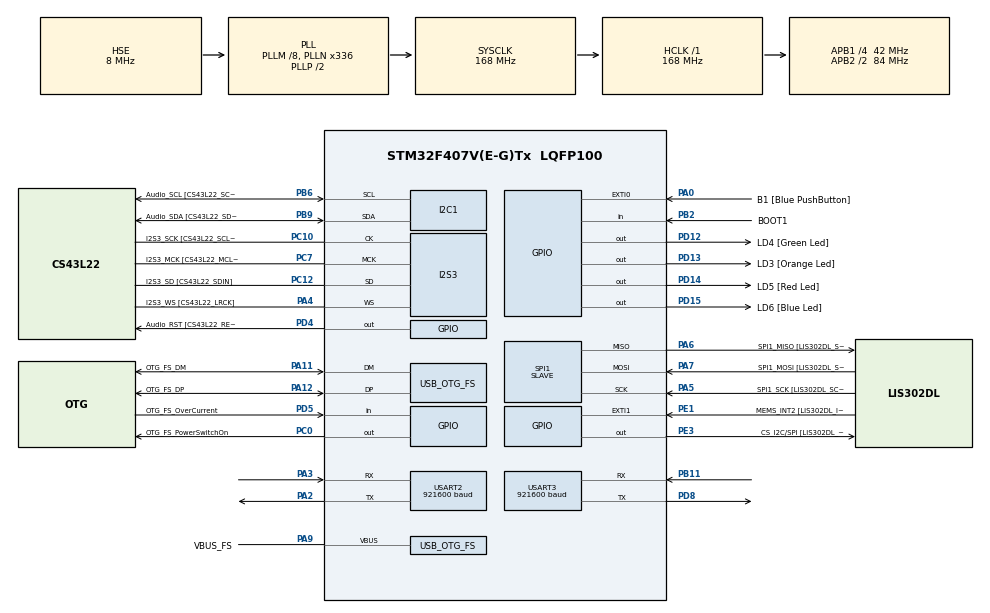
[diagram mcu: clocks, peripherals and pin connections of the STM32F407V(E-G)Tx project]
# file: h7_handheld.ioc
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Dma.Request0=SPI1_RX
Dma.SPI1_RX.0.Direction=DMA_PERIPH_TO_MEMORY
Dma.SPI1_RX.0.FIFOMode=DMA_FIFOMODE_DISABLE
Dma.SPI1_RX.0.Instance=DMA2_Stream0
Dma.SPI1_RX.0.MemDataAlignment=DMA_MDATAALIGN_BYTE
Dma.SPI1_RX.0.MemInc=DMA_MINC_ENABLE
Dma.SPI1_RX.0.Mode=DMA_NORMAL
Dma.SPI1_RX.0.PeriphDataAlignment=DMA_PDATAALIGN_BYTE
Dma.SPI1_RX.0.PeriphInc=DMA_PINC_DISABLE
Dma.SPI1_RX.0.Priority=DMA_PRIORITY_LOW
I2S3.AudioFreq-Half_Duplex_Master=I2S_AUDIOFREQ_96K
I2S3.ErrorAudioFreq=-2.34 %
I2S3.ErrorAudioFreq-Half_Duplex_Master=0.8 %
I2S3.FullDuplexMode=I2S_FULLDUPLEXMODE_DISABLE
I2S3.Instance=SPI$Index
I2S3.RealAudioFreq=93.75 KHz
I2S3.RealAudioFreq-Half_Duplex_Master=96.774 KHz
I2S3.VirtualMode=I2S_MODE_MASTER
Mcu.Family=STM32F4
Mcu.Name=STM32F407V(E-G)Tx
Mcu.Package=LQFP100
NVIC.DMA2_Stream0_IRQn=true\:0\:0\:false\:false\:true\:false\:true\:true
NVIC.OTG_FS_IRQn=true\:0\:0\:false\:false\:true\:true\:true\:true
NVIC.PriorityGroup=NVIC_PRIORITYGROUP_0
NVIC.SPI1_IRQn=true\:0\:0\:false\:false\:true\:true\:true\:true
NVIC.USART3_IRQn=true\:0\:0\:false\:false\:true\:true\:true\:true
PA0-WKUP.GPIO_Label=B1 [Blue PushButton]
PA0-WKUP.GPIO_ModeDefaultEXTI=GPIO_MODE_EVT_RISING
PA0-WKUP.GPIO_PuPd=GPIO_NOPULL
PA0-WKUP.Signal=GPXTI0
PA10.GPIO_Label=OTG_FS_ID
PA10.GPIO_Mode=GPIO_MODE_AF_PP
PA10.GPIO_PuPd=GPIO_NOPULL
PA10.GPIO_Speed=GPIO_SPEED_FREQ_LOW
PA10.Signal=USB_OTG_FS_ID
PA11.GPIO_Label=OTG_FS_DM
PA11.GPIO_Mode=GPIO_MODE_AF_PP
PA11.GPIO_PuPd=GPIO_NOPULL
PA11.GPIO_Speed=GPIO_SPEED_FREQ_LOW
PA11.Mode=Host_Only
PA11.Signal=USB_OTG_FS_DM
PA12.GPIO_Label=OTG_FS_DP
PA12.GPIO_Mode=GPIO_MODE_AF_PP
PA12.GPIO_PuPd=GPIO_NOPULL
PA12.GPIO_Speed=GPIO_SPEED_FREQ_LOW
PA12.Mode=Host_Only
PA12.Signal=USB_OTG_FS_DP
PA13.GPIO_Label=SWDIO
PA13.Mode=Serial_Wire
PA13.Signal=SYS_JTMS-SWDIO
PA14.GPIO_Label=SWCLK
PA14.Mode=Serial_Wire
PA14.Signal=SYS_JTCK-SWCLK
PA2.Mode=Asynchronous
PA2.Signal=USART2_TX
PA3.Mode=Asynchronous
PA3.Signal=USART2_RX
PA4.GPIO_Label=I2S3_WS [CS43L22_LRCK]
PA4.GPIO_Mode=GPIO_MODE_AF_PP
PA4.GPIO_PuPd=GPIO_NOPULL
PA4.GPIO_Speed=GPIO_SPEED_FREQ_LOW
PA4.Mode=Half_Duplex_Master
PA4.Signal=I2S3_WS
PA5.GPIO_Label=SPI1_SCK [LIS302DL_SCL/SPC]
PA5.GPIO_Mode=GPIO_MODE_AF_PP
PA5.GPIO_PuPd=GPIO_NOPULL
PA5.GPIO_Speed=GPIO_SPEED_FREQ_LOW
PA5.Mode=Full_Duplex_Slave
PA5.Signal=SPI1_SCK
PA6.GPIO_Label=SPI1_MISO [LIS302DL_SDO]
PA6.GPIO_Mode=GPIO_MODE_AF_PP
PA6.GPIO_PuPd=GPIO_NOPULL
PA6.GPIO_Speed=GPIO_SPEED_FREQ_LOW
PA6.Mode=Full_Duplex_Slave
PA6.Signal=SPI1_MISO
PA7.GPIO_Label=SPI1_MOSI [LIS302DL_SDA/SDI/SDO]
PA7.GPIO_Mode=GPIO_MODE_AF_PP
PA7.GPIO_PuPd=GPIO_NOPULL
PA7.GPIO_Speed=GPIO_SPEED_FREQ_LOW
PA7.Mode=Full_Duplex_Slave
PA7.Signal=SPI1_MOSI
PA9.GPIO_Label=VBUS_FS
PA9.GPIO_Mode=GPIO_MODE_INPUT
PA9.GPIO_PuPd=GPIO_NOPULL
PA9.Mode=Activate_VBUS
PA9.Signal=USB_OTG_FS_VBUS
PB10.GPIO_Label=CLK_IN [MP45DT02_CLK]
PB10.GPIO_Mode=GPIO_MODE_AF_PP
PB10.GPIO_PuPd=GPIO_NOPULL
PB10.GPIO_Speed=GPIO_SPEED_FREQ_LOW
PB10.Signal=I2S2_CK
PB11.Mode=Asynchronous
PB11.Signal=USART3_RX
PB2.GPIO_Label=BOOT1
PB2.GPIO_Mode=GPIO_MODE_INPUT
PB2.GPIO_PuPd=GPIO_NOPULL
PB2.Signal=GPIO_Input
PB3.GPIO_Label=SWO
PB3.Signal=SYS_JTDO-SWO
PB6.GPIO_Label=Audio_SCL [CS43L22_SCL]
PB6.GPIO_Mode=GPIO_MODE_AF_OD
PB6.GPIO_Pu=GPIO_PULLUP
PB6.GPIO_PuPd=GPIO_NOPULL
PB6.GPIO_Speed=GPIO_SPEED_FREQ_LOW
PB6.Mode=I2C
PB6.Signal=I2C1_SCL
PB9.GPIO_Label=Audio_SDA [CS43L22_SDA]
PB9.GPIO_Mode=GPIO_MODE_AF_OD
PB9.GPIO_Pu=GPIO_PULLUP
PB9.GPIO_PuPd=GPIO_NOPULL
PB9.GPIO_Speed=GPIO_SPEED_FREQ_LOW
PB9.Mode=I2C
PB9.Signal=I2C1_SDA
PC0.GPIO_Label=OTG_FS_PowerSwitchOn
PC0.GPIO_PuPd=GPIO_NOPULL
PC0.GPIO_Speed=GPIO_SPEED_FREQ_LOW
PC0.PinState=GPIO_PIN_SET
PC0.Signal=GPIO_Output
PC10.GPIO_Label=I2S3_SCK [CS43L22_SCLK]
PC10.GPIO_Mode=GPIO_MODE_AF_PP
PC10.GPIO_PuPd=GPIO_NOPULL
PC10.GPIO_Speed=GPIO_SPEED_FREQ_LOW
PC10.Mode=Half_Duplex_Master
PC10.Signal=I2S3_CK
PC12.GPIO_Label=I2S3_SD [CS43L22_SDIN]
PC12.GPIO_Mode=GPIO_MODE_AF_PP
PC12.GPIO_PuPd=GPIO_NOPULL
PC12.GPIO_Speed=GPIO_SPEED_FREQ_LOW
PC12.Mode=Half_Duplex_Master
PC12.Signal=I2S3_SD
PC14-OSC32_IN.GPIO_Label=PC14-OSC32_IN
PC14-OSC32_IN.Mode=LSE-External-Oscillator
PC14-OSC32_IN.Signal=RCC_OSC32_IN
PC15-OSC32_OUT.GPIO_Label=PC15-OSC32_OUT
PC15-OSC32_OUT.Mode=LSE-External-Oscillator
PC15-OSC32_OUT.Signal=RCC_OSC32_OUT
PC3.GPIO_Label=PDM_OUT [MP45DT02_DOUT]
PC3.GPIO_Mode=GPIO_MODE_AF_PP
PC3.GPIO_PuPd=GPIO_NOPULL
PC3.GPIO_Speed=GPIO_SPEED_FREQ_LOW
PC3.Signal=I2S2_SD
PC7.GPIO_Label=I2S3_MCK [CS43L22_MCLK]
PC7.GPIO_Mode=GPIO_MODE_AF_PP
PC7.GPIO_PuPd=GPIO_NOPULL
PC7.GPIO_Speed=GPIO_SPEED_FREQ_LOW
PC7.Mode=Master_Clock_Activated
PC7.Signal=I2S3_MCK
PD12.GPIO_Label=LD4 [Green Led]
PD12.GPIO_PuPd=GPIO_NOPULL
PD12.GPIO_Speed=GPIO_SPEED_FREQ_LOW
PD12.Signal=GPIO_Output
PD13.GPIO_Label=LD3 [Orange Led]
PD13.GPIO_PuPd=GPIO_NOPULL
PD13.GPIO_Speed=GPIO_SPEED_FREQ_LOW
PD13.Signal=GPIO_Output
PD14.GPIO_Label=LD5 [Red Led]
PD14.GPIO_PuPd=GPIO_NOPULL
PD14.GPIO_Speed=GPIO_SPEED_FREQ_LOW
PD14.Signal=GPIO_Output
PD15.GPIO_Label=LD6 [Blue Led]
PD15.GPIO_PuPd=GPIO_NOPULL
PD15.GPIO_Speed=GPIO_SPEED_FREQ_LOW
PD15.Signal=GPIO_Output
PD4.GPIO_Label=Audio_RST [CS43L22_RESET]
PD4.GPIO_PuPd=GPIO_NOPULL
PD4.GPIO_Speed=GPIO_SPEED_FREQ_LOW
PD4.Signal=GPIO_Output
PD5.GPIO_Label=OTG_FS_OverCurrent
PD5.GPIO_Mode=GPIO_MODE_INPUT
PD5.GPIO_PuPd=GPIO_NOPULL
PD5.Signal=GPIO_Input
PD8.Mode=Asynchronous
PD8.Signal=USART3_TX
PE1.GPIO_Label=MEMS_INT2 [LIS302DL_INT2]
PE1.GPIO_ModeDefaultEXTI=GPIO_MODE_EVT_RISING
PE1.GPIO_PuPd=GPIO_NOPULL
PE1.Signal=GPXTI1
PE3.GPIO_Label=CS_I2C/SPI [LIS302DL_CS_I2C/SPI]
PE3.GPIO_PuPd=GPIO_NOPULL
PE3.GPIO_Speed=GPIO_SPEED_FREQ_LOW
PE3.Signal=GPIO_Output
PH0-OSC_IN.GPIO_Label=PH0-OSC_IN
PH0-OSC_IN.Mode=HSE-External-Oscillator
PH0-OSC_IN.Signal=RCC_OSC_IN
PH1-OSC_OUT.GPIO_Label=PH1-OSC_OUT
PH1-OSC_OUT.Mode=HSE-External-Oscillator
PH1-OSC_OUT.Signal=RCC_OSC_OUT
ProjectManager.HeapSize=0x200
ProjectManager.StackSize=0x400
ProjectManager.TargetToolchain=STM32CubeIDE
RCC.48MHZClocksFreq_Value=48000000
RCC.AHBFreq_Value=168000000
RCC.APB1CLKDivider=RCC_HCLK_DIV4
RCC.APB1Freq_Value=42000000
RCC.APB1TimFreq_Value=84000000
RCC.APB2CLKDivider=RCC_HCLK_DIV2
RCC.APB2Freq_Value=84000000
RCC.APB2TimFreq_Value=168000000
RCC.CortexFreq_Value=168000000
RCC.HCLKFreq_Value=168000000
RCC.HSE_VALUE=8000000
RCC.HSI_VALUE=16000000
RCC.PLLM=8
RCC.PLLN=336
RCC.PLLQ=7
RCC.SYSCLKFreq_VALUE=168000000
RCC.SYSCLKSource=RCC_SYSCLKSOURCE_PLLCLK
RCC.VCOOutputFreq_Value=336000000
SPI1.Direction=SPI_DIRECTION_2LINES
SPI1.Mode=SPI_MODE_SLAVE
SPI1.VirtualType=VM_SLAVE
USART2.BaudRate=921600
USART2.VirtualMode=VM_ASYNC
USART3.BaudRate=921600
USART3.VirtualMode=VM_ASYNC
USB_HOST.BSP.number=1
USB_HOST.USBH_HandleTypeDef-CDC_FS=hUsbHostFS
USB_HOST.VirtualModeFS=Cdc
USB_HOST0.BSP.STBoard=false
USB_HOST0.BSP.api=Unknown
USB_HOST0.BSP.instance=PC0
USB_HOST0.BSP.ip=GPIO
USB_HOST0.BSP.mode=Output
USB_HOST0.BSP.name=Drive_VBUS_FS
USB_HOST0.BSP.solution=PC0
USB_OTG_FS.VirtualMode=Host_Only
USB_OTG_FS.phy_itface=HCD_PHY_EMBEDDED
VP_USB_HOST_VS_USB_HOST_CDC_FS.Mode=CDC_FS
board=STM32F407G-DISC1

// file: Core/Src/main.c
/* USER CODE BEGIN Header */
/**
  ******************************************************************************
  * @file           : main.c
  * @brief          : Main program body
  ******************************************************************************
  * @attention
  *
  * Copyright (c) 2024 STMicroelectronics.
  * All rights reserved.
  *
  * This software is licensed under terms that can be found in the LICENSE file
  * in the root directory of this software component.
  * If no LICENSE file comes with this software, it is provided AS-IS.
  *
  ******************************************************************************
  */
/* USER CODE END Header */
#include "main.h"
#include "usb_host.h"

/* USER CODE BEGIN Includes */
#include "string.h"
#include "Nextion.h"
#include "stdio.h"

/* USER CODE END Includes */

I2C_HandleTypeDef hi2c1;

I2S_HandleTypeDef hi2s3;

SPI_HandleTypeDef hspi1;
DMA_HandleTypeDef hdma_spi1_rx;

UART_HandleTypeDef huart2;
UART_HandleTypeDef huart3;

/* USER CODE BEGIN PV */

#define TEMPERATURE 0b00
#define HUMIDITY 0b01
#define SOUND 0b10
#define VIBRATION 0b11

typedef struct {
  uint8_t sop;        // Start of packet
  uint8_t datatype;   // Data type
  uint8_t sensorId;   // Sensor ID
  uint32_t timestamp; // Timestamp
  int64_t data;        // Sensor data
  uint8_t crc;        // CRC for error checking
  uint8_t eop;
} SensorDataPacket;

#define PACKET_SIZE sizeof(SensorDataPacket)

typedef enum { // FSM States
    UART_WAIT_FOR_SOP,
    UART_DATATYPE,
    UART_SENSOR_ID,
    UART_TIMESTAMP,
    UART_DATA,
    UART_CRC,
	UART_EOP,
    UART_DONE
} UART_State_t;

// Declaration for USART1
uint8_t rx_data1[PACKET_SIZE];
SensorDataPacket sensorData1;
UART_State_t uartState1 = UART_WAIT_FOR_SOP;
uint32_t timestampBuffer1;
uint64_t dataBuffer1;
uint32_t dataIndex1 = 0; // Used for buffer indexing

uint8_t spi_rx_buffer[PACKET_SIZE];
uint16_t spi_rx_count = 0;
uint8_t test_five = 0;
SensorDataPacket receivedPacket;

// DISPLAY VARIABLES
// Object for the Nextion display
Nextion nextion;
NexComp temp_C;
NexComp temp_F;
NexComp hum_RH;
NexComp vib_X;
NexComp vib_Y;
NexComp vib_Z;
NexComp sound_dB;

// Objects for the components. Button1 is for example only.
//NexComp button1;

/* USER CODE END PV */

void SystemClock_Config(void);
static void MX_GPIO_Init(void);
static void MX_DMA_Init(void);
static void MX_I2C1_Init(void);
static void MX_I2S3_Init(void);
static void MX_SPI1_Init(void);
static void MX_USART3_UART_Init(void);
static void MX_USART2_UART_Init(void);
void MX_USB_HOST_Process(void);

/* USER CODE BEGIN PFP */
void resetState(void);
int validateCRC(const SensorDataPacket *packet);
void printData(const SensorDataPacket *packet);
void processSPIData(SPI_HandleTypeDef *SPI, SensorDataPacket *sensorData, uint8_t *rxData,
                     UART_State_t *uartState, uint32_t *timestampBuffer, uint64_t *dataBuffer, uint32_t *dataIndex);
void resetUartState(UART_State_t *uartState, uint32_t *timestampBuffer, uint64_t *dataBuffer, uint32_t *dataIndex, uint8_t *rxData);
void unpackData(uint64_t packedData, int16_t* x, int16_t* y, int16_t* z);
void printRawData(const SensorDataPacket *packet);

uint8_t test_data_count = 0;

/* USER CODE END PFP */

/* USER CODE BEGIN 0 */

//void HAL_SPI_RxCpltCallback(SPI_HandleTypeDef * hspi){
//    if(hspi->Instance == SPI1) {
//        // Process data from USART1
//    	//printData(&sensorData1);
////    	HAL_GPIO_TogglePin(GPIOD, GPIO_PIN_13); //orange
////    	HAL_UART_Transmit(&huart3, rx_data1, 1, 100);
////    	HAL_SPI_Receive_IT(&hspi1, rx_data1, 1);
//    	processSPIData(hspi, &sensorData1, rx_data1, &uartState1, &timestampBuffer1, &dataBuffer1, &dataIndex1);
////    	HAL_SPI_Receive_IT(&hspi1, rx_data1, 1);
//    }
//
////    test_data_count++;
////    if(test_data_count == 1){
////    	test_data_count = 0;
//////    	HAL_GPIO_TogglePin(GPIOD, GPIO_PIN_13); //orange
////
////    }
//    HAL_SPI_Receive_IT(&hspi1, rx_data1, 1);
//
//
////    HAL_SPI_Receive_IT(&hspi1, (uint8_t*)&sensorData1, sizeof(sensorData1));
//
//}

//void HAL_SPI_RxCpltCallback(SPI_HandleTypeDef * hspi){
//    if(hspi->Instance == SPI1) {
//        char debugOutput[32];
//        sprintf(debugOutput, "Rx: 0x%X\r\n", rx_data1[0]);
//        HAL_UART_Transmit(&huart3, (uint8_t*)debugOutput, strlen(debugOutput), 100);
//        HAL_GPIO_WritePin(GPIOD, GPIO_PIN_13, GPIO_PIN_SET);
//        HAL_SPI_Receive_IT(&hspi1, rx_data1, 1);
//    }
//}

// This function is called when the SPI receives data
void HAL_SPI_RxCpltCallback(SPI_HandleTypeDef *hspi) {
    if (hspi->Instance == SPI1) {
        // String to store the output for debugging
        char debugOutput[PACKET_SIZE * 3 + 1]; // Each byte could use up to 3 characters in text (2 hex digits and a space) + null terminator
        int offset = 0;

        // Convert the received data to hexadecimal string for UART transmission
        for (int i = 0; i < PACKET_SIZE; i++) {
            offset += snprintf(debugOutput + offset, sizeof(debugOutput) - offset, "%02X ", rx_data1[i]);
            if (offset >= sizeof(debugOutput)) break; // Safety check to prevent buffer overflow
        }

        // Transmit the formatted string over UART3
        HAL_UART_Transmit(&huart3, (uint8_t*)debugOutput, strlen(debugOutput), 100);

        // Now, process each byte of the received packet through the FSM
        for (int i = 0; i < PACKET_SIZE; i++) {
            // Pass each byte of the packet to the FSM
        	processSPIData(hspi, &sensorData1, &rx_data1[i], &uartState1, &timestampBuffer1, &dataBuffer1, &dataIndex1);
        }

        // Ready to receive the next packet
        HAL_SPI_Receive_DMA(hspi, rx_data1, PACKET_SIZE);
    }
}

// This function is called in case of an error on SPI
void HAL_SPI_ErrorCallback(SPI_HandleTypeDef *hspi) {
    // Handle your error here
    // After handling the error, re-arm the SPI receive interrupt
	HAL_SPI_Receive_DMA(hspi, rx_data1, PACKET_SIZE);
}

void HAL_UART_RxCpltCallback(UART_HandleTypeDef *huart)
{
	NextionUpdate(huart, &nextion);
}

void processSPIData(SPI_HandleTypeDef *SPI, SensorDataPacket *sensorData, uint8_t *rxData,
                     UART_State_t *uartState, uint32_t *timestampBuffer, uint64_t *dataBuffer, uint32_t *dataIndex) {    // Your existing switch case logic here, adapted for the specific sensorData and rx_data
    // This function needs to be adapted from your existing HAL_UART_RxCpltCallback logic
	uint8_t rxByte = *rxData; // The received byte
//    sprintf(buffer, "RxByte: 0x%08lX\r\n", rxByte);
//    HAL_UART_Transmit(&huart3, (uint8_t*)buffer, strlen(buffer), 100); // Print debug info
    switch (*uartState) {
        case UART_WAIT_FOR_SOP: // SOP Case
            if (rxByte == 0x53) { // SOP byte = 0x53 ('S')
            	sensorData->sop = rxByte; // Set the sop
            	*uartState = UART_DATATYPE;
//            	HAL_GPIO_WritePin(GPIOD, GPIO_PIN_13, GPIO_PIN_SET);
//                HAL_GPIO_WritePin(GPIOD, GPIO_PIN_13, GPIO_PIN_SET); // Orange LED set when packet is complete
            }
            break;
        case UART_DATATYPE: // Data type Case
        	sensorData->datatype = rxByte; // Set th		e data type (Temp = 00, Humidity = 01, Sound = 10, Vibration = 11)
            *uartState = UART_SENSOR_ID; // Next parameter
            break;

        case UART_SENSOR_ID: // Sensor ID Case
        	sensorData->sensorId = rxByte; // Set the sensor ID (000, 001, 010, 011, 100, 101, 110, 111 (i.e. Sensor 1-8)
        	*dataIndex = 0; // Reset dataIndex for the next field
            *uartState = UART_TIMESTAMP; // Next parameter
//            HAL_GPIO_WritePin(GPIOD, GPIO_PIN_13, GPIO_PIN_SET); // Orange LED set when packet is complete
            break;

        case UART_TIMESTAMP: // Timestamp Case
            // Combine byte into timestamp assuming little endian - least significant byte first
//            	timestampBuffer |= ((uint32_t)rxByte << (24 - (dataIndex * 8)));
        	*timestampBuffer |= ((uint32_t)rxByte << ((*dataIndex-1) * 8));
//            	sprintf(buffer, "RxByte: 0x%08lX\r\n", rxByte);
//            	HAL_UART_Transmit(&huart3, (uint8_t*)buffer, strlen(buffer), 100); // Print debug info
//            	sprintf(buffer, "Timestamp partial: 0x%08lX\r\n", timestampBuffer);
//            	HAL_UART_Transmit(&huart3, (uint8_t*)buffer, strlen(buffer), 100); // Print debug info
            (*dataIndex)++;
            if (*dataIndex >= sizeof(sensorData->timestamp)) {
                sensorData->timestamp = *timestampBuffer; // Assign the complete timestamp
                *dataIndex = 0; // Reset dataIndex for the data field
                *timestampBuffer = 0; // Clear the buffer for the next use
                *uartState = UART_DATA; // Move to the next state
            }
            break;

        case UART_DATA: // Data Case
            // Combine byte into data assuming little endian - least significant byte first
        	*dataBuffer |= ((uint64_t)rxByte << ((*dataIndex-1) * 8));//            	sprintf(buffer, "Data partial: 0x%016llx\r\n", dataBuffer);
//            	HAL_UART_Transmit(&huart3, (uint8_t*)buffer, strlen(buffer), 100); // Print debug info
            (*dataIndex)++;
            if (*dataIndex >= sizeof(sensorData->data)) {
                sensorData->data = *dataBuffer; // Assign the complete data
                *dataIndex = 0; // Reset dataIndex for the CRC field
                *dataBuffer = 0; // Clear the buffer for the next use
                *uartState = UART_CRC; // Move to the next state
            }
            break;

        case UART_CRC: // CRC Case
        	if(rxByte != 0){
                sensorData->crc = rxByte; // Set the CRC value based on algorithm
                *uartState = UART_EOP; // Next parameter
        	}
//                HAL_GPIO_WritePin(GPIOD, GPIO_PIN_13, GPIO_PIN_SET); // Orange LED set when packet is complete
            break;

        case UART_EOP:
            if (rxByte == 0x45) { // EOP byte = 0x45 ('E')
                *uartState = UART_DONE; // Packet reception is complete
                sensorData->eop = rxByte; // Set the eop
                if(SPI->Instance == SPI1){
                	HAL_GPIO_WritePin(GPIOD, GPIO_PIN_12, GPIO_PIN_SET); // Red LED set when packet is complete
                }
                ///else if(SPI->Instance == USART2){
                	//HAL_GPIO_WritePin(GPIOD, GPIO_PIN_13, GPIO_PIN_SET); // Orange LED set when packet is complete
                //}
               // else if(huart->Instance == UART4){
                //	HAL_GPIO_WritePin(GPIOD, GPIO_PIN_14, GPIO_PIN_SET); // Blue LED set when packet is complete
               // }
//                HAL_GPIO_WritePin(GPIOD, GPIO_PIN_13, GPIO_PIN_SET); // Orange LED set when packet is complete
            } else {
//                    uartState = UART_DONE; // Packet reception is complete
//                    sensorData.eop = rxByte; // Set the eop
//                    HAL_GPIO_WritePin(GPIOD, GPIO_PIN_13, GPIO_PIN_SET); // Orange LED set when packet is complete
                uartState = UART_WAIT_FOR_SOP; // Invalid EOP, reset FSM
            }
            break;

        case UART_DONE:
            // Packet is complete, validate CRC and take appropriate action
//                if (validateCRC(&sensorData)) {
//                    processData(&sensorData); // Process the data
//                }
//        	test_five++;
//        	if(test_five == 5){
//        		printData(sensorData); // Process the data
//        		test_five = 0;
//        	}
//        	printRawData(sensorData);
    		printData(sensorData); // Process the data
//        	HAL_GPIO_WritePin(GPIOD, GPIO_PIN_13, GPIO_PIN_SET); // Orange LED set when packet is complete
        	resetUartState(uartState, timestampBuffer, dataBuffer, dataIndex, rxData);
            break;
    }
    // Ready to receive the next byte
    HAL_SPI_Receive_DMA(SPI, rxData, 1);
}

void resetUartState(UART_State_t *uartState, uint32_t *timestampBuffer, uint64_t *dataBuffer, uint32_t *dataIndex, uint8_t *rxData) {
    *uartState = UART_WAIT_FOR_SOP; // Reset UART state
    *timestampBuffer = 0; // Clear the timestamp buffer
    *dataBuffer = 0; // Clear the data buffer
    *dataIndex = 0;
    *rxData = 0;
    HAL_GPIO_WritePin(GPIOD, GPIO_PIN_12, GPIO_PIN_RESET);
    HAL_GPIO_WritePin(GPIOD, GPIO_PIN_13, GPIO_PIN_RESET);
    HAL_GPIO_WritePin(GPIOD, GPIO_PIN_14, GPIO_PIN_RESET);
    HAL_GPIO_WritePin(GPIOD, GPIO_PIN_15, GPIO_PIN_RESET);
}

//int validateCRC(const SensorDataPacket *packet) {
////     Placeholder function to validate CRC - replace with actual CRC calculation
//    return packet->crc == crc_calculated;
//}

void printData(const SensorDataPacket *packet) {
    char buffer[100]; // Ensure the buffer is large enough for all the data
    char temp_buf[100];
    char hum_buf[100];
    char sound_buf[100];
    char x_buf[50];
    char y_buf[50];
    char z_buf[50];
    double data;
    int64_t signed_data;
    // Assuming the data field is treated as fixed-point and needs to be converted back to float
    if(packet->datatype == TEMPERATURE || packet->datatype == HUMIDITY){
    	signed_data = (int16_t) (packet->data);
    	data = signed_data / 100.0;
    }

    // Start of Packet (SOP) - Hexadecimal
    sprintf(buffer, "SOP: 0x%02X\r\n", packet->sop);
    HAL_UART_Transmit(&huart3, (uint8_t*)buffer, strlen(buffer), 100);

    // Data Type - Binary
    sprintf(buffer, "Data Type: %u\r\n", packet->datatype);
    HAL_UART_Transmit(&huart3, (uint8_t*)buffer, strlen(buffer), 100);

    // Sensor ID - Binary
    sprintf(buffer, "Sensor ID: %u\r\n", packet->sensorId);
    HAL_UART_Transmit(&huart3, (uint8_t*)buffer, strlen(buffer), 100);

    // Timestamp - Decimal
    sprintf(buffer, "Timestamp: %lu\r\n", packet->timestamp);
    HAL_UART_Transmit(&huart3, (uint8_t*)buffer, strlen(buffer), 100);

//    // Data - Decimal
//    sprintf(buffer, "Data: %lu\r\n", packet->data);
//    HAL_UART_Transmit(&huart3, (uint8_t*)buffer, strlen(buffer), 100);

    // Data - Signed Integer
    if(packet->datatype == TEMPERATURE) {
        // For non-vibration data, print as before
    	sprintf(buffer, "Temp: %.2f C\r\n", data);
    	sprintf(temp_buf, "%.2f C", data);
    	NextionSetText(&nextion, &temp_C, temp_buf);
    }
    else if(packet->datatype == HUMIDITY){
    	sprintf(buffer, "Hum: %.2f %%\r\n", data);
    	sprintf(hum_buf, "%.2f %%", data);
    	NextionSetText(&nextion, &hum_RH, hum_buf);
    }
    else if(packet->datatype == SOUND){
    	sprintf(buffer, "Sound: %lu dB\r\n", packet->data);
    	sprintf(sound_buf, "%lu dB", packet->data);
    	NextionSetText(&nextion, &sound_dB, sound_buf);
    }
    else if (packet->datatype == VIBRATION) {
        int16_t x, y, z;
        unpackData(packet->data, &x, &y, &z);
        // Display the scaled values with two decimal places as floating points
        float x_float = x / 100.0f;
        float y_float = y / 100.0f;
        float z_float = z / 100.0f;
//        sprintf(buffer2, "Data: %lu\r\n", packet->data);
        sprintf(buffer, "X: %.2f G\tY: %.2f G\tZ: %.2f G\r\n", x_float, y_float, z_float);
    	sprintf(x_buf, "X: %.2f G", x_float);
    	sprintf(y_buf, "Y: %.2f G", y_float);
    	sprintf(z_buf, "Z: %.2f G", z_float);
    	NextionSetText(&nextion, &vib_X, x_buf);
    	NextionSetText(&nextion, &vib_Y, y_buf);
    	NextionSetText(&nextion, &vib_Z, z_buf);
    }
    else{
    	sprintf(buffer, "Bad Data Type\r\n");
    }
    HAL_UART_Transmit(&huart3, (uint8_t*)buffer, strlen(buffer), 100);

    // CRC - Hexadecimal
    sprintf(buffer, "CRC: 0x%02X\r\n", packet->crc);
    HAL_UART_Transmit(&huart3, (uint8_t*)buffer, strlen(buffer), 100);

    // End of Packet (EOP) - Hexadecimal
    sprintf(buffer, "EOP: 0x%02X\r\n", packet->eop);
    HAL_UART_Transmit(&huart3, (uint8_t*)buffer, strlen(buffer), 100);

    // Separator
    HAL_UART_Transmit(&huart3, (uint8_t*)"--------\r\n", 10, 100);
}

void printRawData(const SensorDataPacket *packet) {
    char buffer[100]; // Ensure the buffer is large enough for all the data

    sprintf(buffer, "%lu\r\n", packet->data);
    HAL_UART_Transmit(&huart3, (uint8_t*)buffer, strlen(buffer), 100);
}

void unpackData(uint64_t packedData, int16_t* x, int16_t* y, int16_t* z) {
    *x = (int16_t)((packedData >> 32) & 0xFFFF);
    *y = (int16_t)((packedData >> 16) & 0xFFFF);
    *z = (int16_t)(packedData & 0xFFFF);
}

/* USER CODE END 0 */

int main(void)
{

  /* MCU Configuration--------------------------------------------------------*/

  /* Reset of all peripherals, Initializes the Flash interface and the Systick. */
  HAL_Init();

  /* Configure the system clock */
  SystemClock_Config();

  /* Initialize all configured peripherals */
  MX_GPIO_Init();
  MX_DMA_Init();
  MX_I2C1_Init();
  MX_I2S3_Init();
  MX_SPI1_Init();
  MX_USB_HOST_Init();
  MX_USART3_UART_Init();
  MX_USART2_UART_Init();
  /* USER CODE BEGIN 2 */
  NextionInit(&nextion, &huart2);
  NextionAddComp(&nextion, &temp_C, "t4", 0, 6, NULL, NULL);
  NextionAddComp(&nextion, &temp_F, "t5", 0, 7, NULL, NULL);
  NextionAddComp(&nextion, &hum_RH, "t6", 0, 8, NULL, NULL);
  NextionAddComp(&nextion, &vib_X, "t7", 0, 9, NULL, NULL);
  NextionAddComp(&nextion, &vib_Y, "t8", 0, 10, NULL, NULL);
  NextionAddComp(&nextion, &vib_Z, "t9", 0, 11, NULL, NULL);
  NextionAddComp(&nextion, &sound_dB, "t10", 0, 12, NULL, NULL);

  HAL_SPI_Receive_DMA(&hspi1, rx_data1, PACKET_SIZE);

  /* USER CODE END 2 */

  /* Infinite loop */
  while (1)
  {
    MX_USB_HOST_Process();

  }
}

void SystemClock_Config(void)
{
  RCC_OscInitTypeDef RCC_OscInitStruct = {0};
  RCC_ClkInitTypeDef RCC_ClkInitStruct = {0};

  /** Configure the main internal regulator output voltage
  */
  __HAL_RCC_PWR_CLK_ENABLE();
  __HAL_PWR_VOLTAGESCALING_CONFIG(PWR_REGULATOR_VOLTAGE_SCALE1);

  /** Initializes the RCC Oscillators according to the specified parameters
  * in the RCC_OscInitTypeDef structure.
  */
  RCC_OscInitStruct.OscillatorType = RCC_OSCILLATORTYPE_HSE;
  RCC_OscInitStruct.HSEState = RCC_HSE_ON;
  RCC_OscInitStruct.PLL.PLLState = RCC_PLL_ON;
  RCC_OscInitStruct.PLL.PLLSource = RCC_PLLSOURCE_HSE;
  RCC_OscInitStruct.PLL.PLLM = 8;
  RCC_OscInitStruct.PLL.PLLN = 336;
  RCC_OscInitStruct.PLL.PLLP = RCC_PLLP_DIV2;
  RCC_OscInitStruct.PLL.PLLQ = 7;
  if (HAL_RCC_OscConfig(&RCC_OscInitStruct) != HAL_OK)
  {
    Error_Handler();
  }

  /** Initializes the CPU, AHB and APB buses clocks
  */
  RCC_ClkInitStruct.ClockType = RCC_CLOCKTYPE_HCLK|RCC_CLOCKTYPE_SYSCLK
                              |RCC_CLOCKTYPE_PCLK1|RCC_CLOCKTYPE_PCLK2;
  RCC_ClkInitStruct.SYSCLKSource = RCC_SYSCLKSOURCE_PLLCLK;
  RCC_ClkInitStruct.AHBCLKDivider = RCC_SYSCLK_DIV1;
  RCC_ClkInitStruct.APB1CLKDivider = RCC_HCLK_DIV4;
  RCC_ClkInitStruct.APB2CLKDivider = RCC_HCLK_DIV2;

  if (HAL_RCC_ClockConfig(&RCC_ClkInitStruct, FLASH_LATENCY_5) != HAL_OK)
  {
    Error_Handler();
  }
}

static void MX_I2C1_Init(void)
{

  hi2c1.Instance = I2C1;
  hi2c1.Init.ClockSpeed = 100000;
  hi2c1.Init.DutyCycle = I2C_DUTYCYCLE_2;
  hi2c1.Init.OwnAddress1 = 0;
  hi2c1.Init.AddressingMode = I2C_ADDRESSINGMODE_7BIT;
  hi2c1.Init.DualAddressMode = I2C_DUALADDRESS_DISABLE;
  hi2c1.Init.OwnAddress2 = 0;
  hi2c1.Init.GeneralCallMode = I2C_GENERALCALL_DISABLE;
  hi2c1.Init.NoStretchMode = I2C_NOSTRETCH_DISABLE;
  if (HAL_I2C_Init(&hi2c1) != HAL_OK)
  {
    Error_Handler();
  }

}

static void MX_I2S3_Init(void)
{

  hi2s3.Instance = SPI3;
  hi2s3.Init.Mode = I2S_MODE_MASTER_TX;
  hi2s3.Init.Standard = I2S_STANDARD_PHILIPS;
  hi2s3.Init.DataFormat = I2S_DATAFORMAT_16B;
  hi2s3.Init.MCLKOutput = I2S_MCLKOUTPUT_ENABLE;
  hi2s3.Init.AudioFreq = I2S_AUDIOFREQ_96K;
  hi2s3.Init.CPOL = I2S_CPOL_LOW;
  hi2s3.Init.ClockSource = I2S_CLOCK_PLL;
  hi2s3.Init.FullDuplexMode = I2S_FULLDUPLEXMODE_DISABLE;
  if (HAL_I2S_Init(&hi2s3) != HAL_OK)
  {
    Error_Handler();
  }

}

static void MX_SPI1_Init(void)
{

  /* SPI1 parameter configuration*/
  hspi1.Instance = SPI1;
  hspi1.Init.Mode = SPI_MODE_SLAVE;
  hspi1.Init.Direction = SPI_DIRECTION_2LINES;
  hspi1.Init.DataSize = SPI_DATASIZE_8BIT;
  hspi1.Init.CLKPolarity = SPI_POLARITY_LOW;
  hspi1.Init.CLKPhase = SPI_PHASE_1EDGE;
  hspi1.Init.NSS = SPI_NSS_SOFT;
  hspi1.Init.FirstBit = SPI_FIRSTBIT_MSB;
  hspi1.Init.TIMode = SPI_TIMODE_DISABLE;
  hspi1.Init.CRCCalculation = SPI_CRCCALCULATION_DISABLE;
  hspi1.Init.CRCPolynomial = 10;
  if (HAL_SPI_Init(&hspi1) != HAL_OK)
  {
    Error_Handler();
  }

}

static void MX_USART2_UART_Init(void)
{

  huart2.Instance = USART2;
  huart2.Init.BaudRate = 921600;
  huart2.Init.WordLength = UART_WORDLENGTH_8B;
  huart2.Init.StopBits = UART_STOPBITS_1;
  huart2.Init.Parity = UART_PARITY_NONE;
  huart2.Init.Mode = UART_MODE_TX_RX;
  huart2.Init.HwFlowCtl = UART_HWCONTROL_NONE;
  huart2.Init.OverSampling = UART_OVERSAMPLING_16;
  if (HAL_UART_Init(&huart2) != HAL_OK)
  {
    Error_Handler();
  }

}

static void MX_USART3_UART_Init(void)
{

  huart3.Instance = USART3;
  huart3.Init.BaudRate = 921600;
  huart3.Init.WordLength = UART_WORDLENGTH_8B;
  huart3.Init.StopBits = UART_STOPBITS_1;
  huart3.Init.Parity = UART_PARITY_NONE;
  huart3.Init.Mode = UART_MODE_TX_RX;
  huart3.Init.HwFlowCtl = UART_HWCONTROL_NONE;
  huart3.Init.OverSampling = UART_OVERSAMPLING_16;
  if (HAL_UART_Init(&huart3) != HAL_OK)
  {
    Error_Handler();
  }

}

static void MX_DMA_Init(void)
{

  /* DMA controller clock enable */
  __HAL_RCC_DMA2_CLK_ENABLE();

  /* DMA interrupt init */
  /* DMA2_Stream0_IRQn interrupt configuration */
  HAL_NVIC_SetPriority(DMA2_Stream0_IRQn, 0, 0);
  HAL_NVIC_EnableIRQ(DMA2_Stream0_IRQn);

}

static void MX_GPIO_Init(void)
{
  GPIO_InitTypeDef GPIO_InitStruct = {0};

  /* GPIO Ports Clock Enable */
  __HAL_RCC_GPIOE_CLK_ENABLE();
  __HAL_RCC_GPIOC_CLK_ENABLE();
  __HAL_RCC_GPIOH_CLK_ENABLE();
  __HAL_RCC_GPIOA_CLK_ENABLE();
  __HAL_RCC_GPIOB_CLK_ENABLE();
  __HAL_RCC_GPIOD_CLK_ENABLE();

  /*Configure GPIO pin Output Level */
  HAL_GPIO_WritePin(CS_I2C_SPI_GPIO_Port, CS_I2C_SPI_Pin, GPIO_PIN_RESET);

  /*Configure GPIO pin Output Level */
  HAL_GPIO_WritePin(OTG_FS_PowerSwitchOn_GPIO_Port, OTG_FS_PowerSwitchOn_Pin, GPIO_PIN_SET);

  /*Configure GPIO pin Output Level */
  HAL_GPIO_WritePin(GPIOD, LD4_Pin|LD3_Pin|LD5_Pin|LD6_Pin
                          |Audio_RST_Pin, GPIO_PIN_RESET);

  /*Configure GPIO pin : CS_I2C_SPI_Pin */
  GPIO_InitStruct.Pin = CS_I2C_SPI_Pin;
  GPIO_InitStruct.Mode = GPIO_MODE_OUTPUT_PP;
  GPIO_InitStruct.Pull = GPIO_NOPULL;
  GPIO_InitStruct.Speed = GPIO_SPEED_FREQ_LOW;
  HAL_GPIO_Init(CS_I2C_SPI_GPIO_Port, &GPIO_InitStruct);

  /*Configure GPIO pin : OTG_FS_PowerSwitchOn_Pin */
  GPIO_InitStruct.Pin = OTG_FS_PowerSwitchOn_Pin;
  GPIO_InitStruct.Mode = GPIO_MODE_OUTPUT_PP;
  GPIO_InitStruct.Pull = GPIO_NOPULL;
  GPIO_InitStruct.Speed = GPIO_SPEED_FREQ_LOW;
  HAL_GPIO_Init(OTG_FS_PowerSwitchOn_GPIO_Port, &GPIO_InitStruct);

  /*Configure GPIO pin : PDM_OUT_Pin */
  GPIO_InitStruct.Pin = PDM_OUT_Pin;
  GPIO_InitStruct.Mode = GPIO_MODE_AF_PP;
  GPIO_InitStruct.Pull = GPIO_NOPULL;
  GPIO_InitStruct.Speed = GPIO_SPEED_FREQ_LOW;
  GPIO_InitStruct.Alternate = GPIO_AF5_SPI2;
  HAL_GPIO_Init(PDM_OUT_GPIO_Port, &GPIO_InitStruct);

  /*Configure GPIO pin : B1_Pin */
  GPIO_InitStruct.Pin = B1_Pin;
  GPIO_InitStruct.Mode = GPIO_MODE_EVT_RISING;
  GPIO_InitStruct.Pull = GPIO_NOPULL;
  HAL_GPIO_Init(B1_GPIO_Port, &GPIO_InitStruct);

  /*Configure GPIO pin : BOOT1_Pin */
  GPIO_InitStruct.Pin = BOOT1_Pin;
  GPIO_InitStruct.Mode = GPIO_MODE_INPUT;
  GPIO_InitStruct.Pull = GPIO_NOPULL;
  HAL_GPIO_Init(BOOT1_GPIO_Port, &GPIO_InitStruct);

  /*Configure GPIO pin : CLK_IN_Pin */
  GPIO_InitStruct.Pin = CLK_IN_Pin;
  GPIO_InitStruct.Mode = GPIO_MODE_AF_PP;
  GPIO_InitStruct.Pull = GPIO_NOPULL;
  GPIO_InitStruct.Speed = GPIO_SPEED_FREQ_LOW;
  GPIO_InitStruct.Alternate = GPIO_AF5_SPI2;
  HAL_GPIO_Init(CLK_IN_GPIO_Port, &GPIO_InitStruct);

  /*Configure GPIO pins : LD4_Pin LD3_Pin LD5_Pin LD6_Pin
                           Audio_RST_Pin */
  GPIO_InitStruct.Pin = LD4_Pin|LD3_Pin|LD5_Pin|LD6_Pin
                          |Audio_RST_Pin;
  GPIO_InitStruct.Mode = GPIO_MODE_OUTPUT_PP;
  GPIO_InitStruct.Pull = GPIO_NOPULL;
  GPIO_InitStruct.Speed = GPIO_SPEED_FREQ_LOW;
  HAL_GPIO_Init(GPIOD, &GPIO_InitStruct);

  /*Configure GPIO pin : OTG_FS_OverCurrent_Pin */
  GPIO_InitStruct.Pin = OTG_FS_OverCurrent_Pin;
  GPIO_InitStruct.Mode = GPIO_MODE_INPUT;
  GPIO_InitStruct.Pull = GPIO_NOPULL;
  HAL_GPIO_Init(OTG_FS_OverCurrent_GPIO_Port, &GPIO_InitStruct);

  /*Configure GPIO pin : MEMS_INT2_Pin */
  GPIO_InitStruct.Pin = MEMS_INT2_Pin;
  GPIO_InitStruct.Mode = GPIO_MODE_EVT_RISING;
  GPIO_InitStruct.Pull = GPIO_NOPULL;
  HAL_GPIO_Init(MEMS_INT2_GPIO_Port, &GPIO_InitStruct);

}

void Error_Handler(void)
{
  __disable_irq();
  while (1)
  {
  }
}
